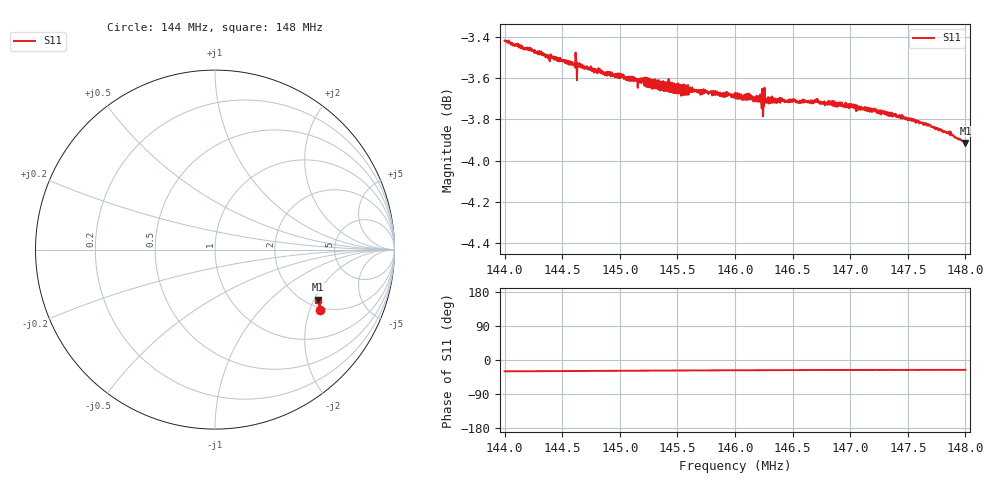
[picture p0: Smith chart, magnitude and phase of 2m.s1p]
! Calibrated averaged scanner-service zoom
# Hz S RI R 50
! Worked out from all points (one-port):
!   1001 points, 144 MHz to 148 MHz, reference 50 ohm
!   lowest |S11| = -3.9 dB at 148 MHz (marker M1), VSWR 4.51, Z = 114 - j107 ohm
!   |S11| at or under -10 dB: nowhere
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1.44e8  0.5859 -0.3348
1.44024e8  0.5842 -0.3362
1.445e8  0.5823 -0.3262
1.44648e8  0.5828 -0.323
1.44652e8  0.582 -0.3229
1.4484e8  0.5809 -0.3189
1.45e8  0.5825 -0.3155
1.4514e8  0.581 -0.3124
1.45256e8  0.5829 -0.3109
1.45404e8  0.5824 -0.3086
1.45416e8  0.5798 -0.3067
1.45472e8  0.5825 -0.3076
1.455e8  0.5805 -0.3055
1.45572e8  0.5829 -0.3055
1.45616e8  0.5808 -0.304
1.46e8  0.582 -0.2971
1.46216e8  0.5825 -0.2955
1.46232e8  0.5789 -0.2948
1.46276e8  0.5818 -0.2935
1.4628e8  0.5829 -0.295
1.465e8  0.5831 -0.292
1.46712e8  0.584 -0.29
1.47e8  0.5828 -0.2879
1.475e8  0.5794 -0.284
1.4766e8  0.578 -0.2839
1.47804e8  0.5759 -0.2818
1.4786e8  0.5751 -0.2838
1.48e8  0.5726 -0.2795
